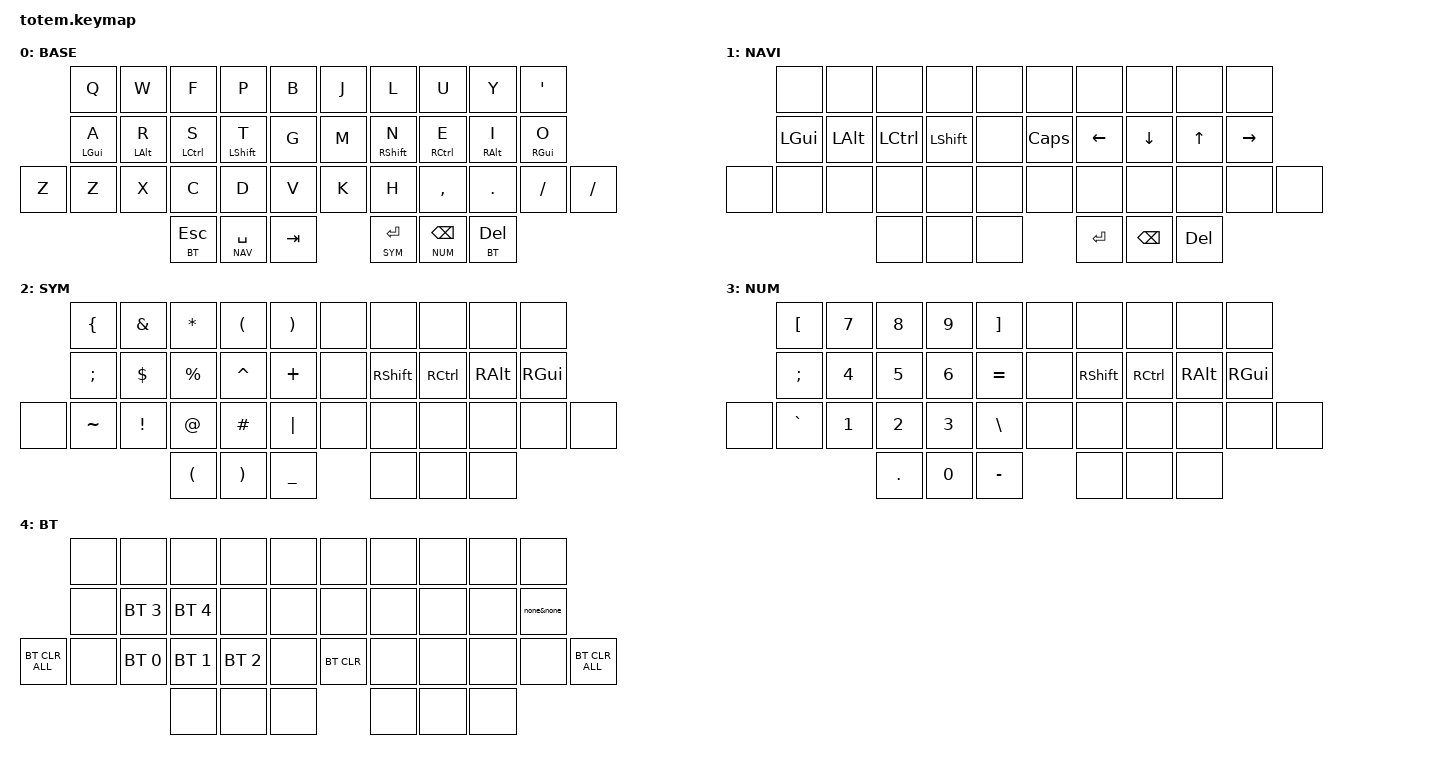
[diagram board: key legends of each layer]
//
//                                                        ▀▀▀▀▀     ▀▀▀▀▀          ▀▀█▀▀
//                                                        ▄▀▀▀▄  ▄  ▄▀▀▀▄  ▄  ▄▀▀▀▄  █  ▄▀▀▀▄
//                                                        █   █  █  █   █  █  █   █  █  █   █
//                                                         ▀▀▀   █   ▀▀▀   █   ▀▀▀   ▀   ▀▀▀
//                                                               █      ▄▄▄█▄▄▄    █   █  
//                                                               ▀      █  █  █     █▄█
//                                                             ▀▀▀▀▀    █  █  █      ▀
//                                                                      ▀  ▀  ▀
//
// ▄▄▄▄▄▄▄▄▄▄▄▄▄▄▄▄▄▄▄▄▄▄▄▄▄▄▄▄▄▄▄▄▄▄▄▄▄▄▄▄▄▄▄▄▄▄▄▄▄▄▄▄▄▄▄▄▄▄▄▄▄▄▄▄▄▄▄▄▄▄▄▄▄▄▄▄▄▄▄▄▄▄▄▄▄▄▄▄▄▄▄▄▄▄▄▄▄▄▄▄▄▄▄▄▄▄▄▄▄▄▄▄▄▄▄▄▄▄▄▄▄▄▄▄▄▄▄▄▄▄▄▄▄▄▄▄▄▄▄▄▄▄▄▄▄▄▄▄▄
       

#include <behaviors.dtsi>
#include <dt-bindings/zmk/keys.h>
#include <dt-bindings/zmk/bt.h>
#include <dt-bindings/zmk/outputs.h>

#define BASE 0
#define NAV  1
#define SYM  2
#define NUM  3
#define BT 4

&mt {
  quick-tap-ms = <100>;
  global-quick-tap;
  flavor = "tap-preferred";
  tapping-term-ms = <170>;
};

/ {
        keymap {
                compatible = "zmk,keymap";
// ▄▄▄▄▄▄▄▄▄▄▄▄▄▄▄▄▄▄▄▄▄▄▄▄▄▄▄▄▄▄▄▄▄▄▄▄▄▄▄▄▄▄▄▄▄▄▄▄▄▄▄▄▄▄▄▄▄▄▄▄▄▄▄▄▄▄▄▄▄▄▄▄▄▄▄▄▄▄▄▄▄▄▄▄▄▄▄▄▄▄▄▄▄▄▄▄▄▄▄▄▄▄▄▄▄▄▄▄▄▄▄▄▄▄▄▄▄▄▄▄▄▄▄▄▄▄▄▄▄▄▄▄▄▄▄▄▄▄▄▄▄▄▄▄▄▄▄▄▄

                base_layer {
label= "BASE"                              ;
 bindings = <
// ╷           ╷           ╷           ╷           ╷           ╷           ╷   ╷           ╷           ╷           ╷           ╷           ╷           ╷

                &kp Q       &kp W       &kp F       &kp P       &kp B           &kp J       &kp L       &kp U       &kp Y       &kp SQT
                &mt LGUI A  &mt LALT R  &mt LCTRL S &mt LSHFT T &kp G           &kp M       &mt RSHFT N &mt RCTRL E &mt RALT I  &mt RGUI O
    &kp Z       &kp Z       &kp X       &kp C       &kp D       &kp V           &kp K       &kp H       &kp COMMA   &kp DOT     &kp FSLH    &kp FSLH
                                        &lt BT ESC     &lt NAV SPACE   &kp TAB     &lt SYM RET &lt NUM BSPC    &lt BT DEL
                        >;
                };

// ▄▄▄▄▄▄▄▄▄▄▄▄▄▄▄▄▄▄▄▄▄▄▄▄▄▄▄▄▄▄▄▄▄▄▄▄▄▄▄▄▄▄▄▄▄▄▄▄▄▄▄▄▄▄▄▄▄▄▄▄▄▄▄▄▄▄▄▄▄▄▄▄▄▄▄▄▄▄▄▄▄▄▄▄▄▄▄▄▄▄▄▄▄▄▄▄▄▄▄▄▄▄▄▄▄▄▄▄▄▄▄▄▄▄▄▄▄▄▄▄▄▄▄▄▄▄▄▄▄▄▄▄▄▄▄▄▄▄▄▄▄▄▄▄▄▄▄▄▄


                nav_layer {
label= "NAVI"                              ;
 bindings = <
// ╷           ╷           ╷           ╷           ╷           ╷           ╷   ╷           ╷           ╷           ╷           ╷           ╷           ╷

                &none       &none       &none       &none       &none           &none        &none       &none       &none       &none
                &kp LGUI    &kp LALT    &kp LCTRL   &kp LSHFT  &none           &kp CAPS     &kp LEFT    &kp DOWN    &kp UP      &kp RIGHT
    &none       &none       &none       &none       &none       &none           &none        &none       &none       &none       &none       &none      
                                        &none       &none       &none           &kp RET      &kp BSPC    &kp DEL      
                        >;
                };

// ▄▄▄▄▄▄▄▄▄▄▄▄▄▄▄▄▄▄▄▄▄▄▄▄▄▄▄▄▄▄▄▄▄▄▄▄▄▄▄▄▄▄▄▄▄▄▄▄▄▄▄▄▄▄▄▄▄▄▄▄▄▄▄▄▄▄▄▄▄▄▄▄▄▄▄▄▄▄▄▄▄▄▄▄▄▄▄▄▄▄▄▄▄▄▄▄▄▄▄▄▄▄▄▄▄▄▄▄▄▄▄▄▄▄▄▄▄▄▄▄▄▄▄▄▄▄▄▄▄▄▄▄▄▄▄▄▄▄▄▄▄▄▄▄▄▄▄▄▄


                sim_layer {
label= "SYM"                               ;
 bindings = <
// ╷           ╷           ╷           ╷           ╷           ╷           ╷   ╷           ╷           ╷           ╷           ╷           ╷           ╷

                &kp LBRC    &kp AMPS    &kp STAR    &kp LPAR    &kp RPAR        &none        &none       &none       &none       &none
                &kp SEMI    &kp DOLLAR  &kp PRCNT   &kp CARET   &kp PLUS        &none        &kp RSHFT   &kp RCTRL   &kp RALT    &kp RGUI
    &none       &kp TILDE   &kp EXCL    &kp AT      &kp HASH    &kp PIPE        &none        &none       &none       &none       &none       &none
                                        &kp LPAR    &kp RPAR    &kp UNDER       &none        &none       &none      
                        >;
                };

// ▄▄▄▄▄▄▄▄▄▄▄▄▄▄▄▄▄▄▄▄▄▄▄▄▄▄▄▄▄▄▄▄▄▄▄▄▄▄▄▄▄▄▄▄▄▄▄▄▄▄▄▄▄▄▄▄▄▄▄▄▄▄▄▄▄▄▄▄▄▄▄▄▄▄▄▄▄▄▄▄▄▄▄▄▄▄▄▄▄▄▄▄▄▄▄▄▄▄▄▄▄▄▄▄▄▄▄▄▄▄▄▄▄▄▄▄▄▄▄▄▄▄▄▄▄▄▄▄▄▄▄▄▄▄▄▄▄▄▄▄▄▄▄▄▄▄▄▄▄


                number_layer {
label= "NUM"                               ;
 bindings = <
// ╷           ╷           ╷           ╷           ╷           ╷           ╷   ╷           ╷           ╷           ╷           ╷           ╷           ╷

                &kp LBKT    &kp N7      &kp N8      &kp N9      &kp RBKT        &none        &none       &none       &none       &none
                &kp SEMI    &kp N4      &kp N5      &kp N6      &kp EQUAL       &none        &kp RSHFT   &kp RCTRL   &kp RALT    &kp RGUI
    &none       &kp GRAVE   &kp N1      &kp N2      &kp N3      &kp BSLH        &none        &none       &none       &none       &none       &none
                                        &kp DOT    &kp N0       &kp MINUS       &none        &none       &none      
                        >;
                };

// ▄▄▄▄▄▄▄▄▄▄▄▄▄▄▄▄▄▄▄▄▄▄▄▄▄▄▄▄▄▄▄▄▄▄▄▄▄▄▄▄▄▄▄▄▄▄▄▄▄▄▄▄▄▄▄▄▄▄▄▄▄▄▄▄▄▄▄▄▄▄▄▄▄▄▄▄▄▄▄▄▄▄▄▄▄▄▄▄▄▄▄▄▄▄▄▄▄▄▄▄▄▄▄▄▄▄▄▄▄▄▄▄▄▄▄▄▄▄▄▄▄▄▄▄▄▄▄▄▄▄▄▄▄▄▄▄▄▄▄▄▄▄▄▄▄▄▄▄▄


                bluetooth_layer {
label= "BT"                               ;
 bindings = <
// ╷           ╷           ╷           ╷           ╷           ╷           ╷   ╷           ╷           ╷           ╷           ╷           ╷           ╷

                &none       &none       &none       &none       &none           &none        &none       &none       &none       &none
                &none       &bt BT_SEL 3       &bt BT_SEL 4       &none       &none           &none        &none       &none       &none       &none&none  
    &bt BT_CLR_ALL       &none       &bt BT_SEL 0       &bt BT_SEL 1       &bt BT_SEL 2       &none           &bt BT_CLR   &none       &none       &none       &none       &bt BT_CLR_ALL
                                        &none       &none       &none           &none        &none       &none      
                        >;
                };
        };
};
